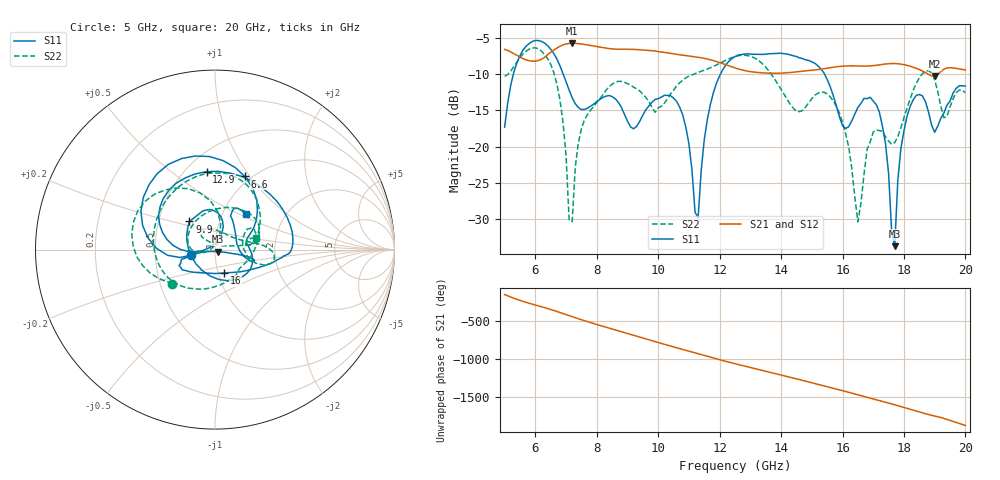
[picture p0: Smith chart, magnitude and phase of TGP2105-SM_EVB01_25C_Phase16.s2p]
! Date: Wednesday, June 05, 2013  1:50 PM
! Filename: C:\Data\Mike_Arnold\TGP2105-SM\Over_Temp\TGP2105-SM_EVB01_25C_Phase16.s2p
! Comments:
!^VDC(V):5.000
!^VDC(mA):0.027
!%Freq(GHz),S11(dB),S11(ang),S21(dB),S21(ang),S12(dB),S12(ang),S22(dB),S22(ang)
# GHz  S  DB  R  50
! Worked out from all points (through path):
!   151 points, 5 GHz to 20 GHz, reference 50 ohm
!   highest |S21| = -5.72 dB at 7.2 GHz (marker M1); lowest = -10.3 dB at 19 GHz (marker M2)
!   group delay of S21, straight-line fit = 306 ps
!   lowest |S11| = -33.8 dB at 17.7 GHz (marker M3), VSWR 1.04, Z = 51.8 - j1.11 ohm
!   |S11| at or under -10 dB: start of sweep to 5.285 GHz; 6.908 GHz to 12.03 GHz (5.118 GHz wide, 54.1 % of centre); 15.42 GHz to end of sweep
!   |S22| runs from -30.4 to -6.4 dB; largest |S21 - S12| = 0.0022
!   S11 on the Smith chart (normalised r, x): 5 GHz: 0.76, -0.05; 6.6 GHz: 0.94, +0.95; 9.9 GHz: 0.72, +0.24; 12.9 GHz: 0.63, +0.68; 16 GHz: 1.06, -0.28; 20 GHz: 1.29, +0.54
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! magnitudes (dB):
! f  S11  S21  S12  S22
! 5 GHz  -17.3  -6.6  -6.6  -10.3
! 5.6 GHz  -6.7  -7.8  -7.9  -7.2
! 6.6 GHz  -7.1  -6.7  -6.7  -9.8
! 7.2 GHz  -13.3  -5.7  -5.7  -30.4
! 7.5 GHz  -14.9  -5.8  -5.8  -17.5
! 9.9 GHz  -13.5  -6.8  -6.8  -15.3
! 10 GHz  -13.4  -6.9  -6.9  -14.7
! 10.8 GHz  -15.7  -7.4  -7.4  -10.8
! 11.3 GHz  -29.8  -7.7  -7.7  -9.8
! 11.7 GHz  -14.2  -8.0  -8.0  -9.1
! 12.5 GHz  -7.6  -9.1  -9.2  -7.6
! 12.9 GHz  -7.2  -9.6  -9.6  -7.4
! 15 GHz  -8.3  -9.5  -9.5  -13.4
! 16 GHz  -17.1  -8.9  -8.9  -16.7
! 16.5 GHz  -14.6  -8.9  -8.9  -30.4
! 17 GHz  -13.7  -8.8  -8.8  -18.0
! 17.5 GHz  -23.7  -8.6  -8.6  -19.3
! 17.7 GHz  -33.8  -8.5  -8.6  -19.4
! 17.9 GHz  -20.3  -8.6  -8.6  -17.4
! 18.2 GHz  -14.5  -8.9  -8.9  -13.5
! 19 GHz  -18.0  -10.3  -10.3  -10.8
! 20 GHz  -11.6  -9.4  -9.5  -12.6
